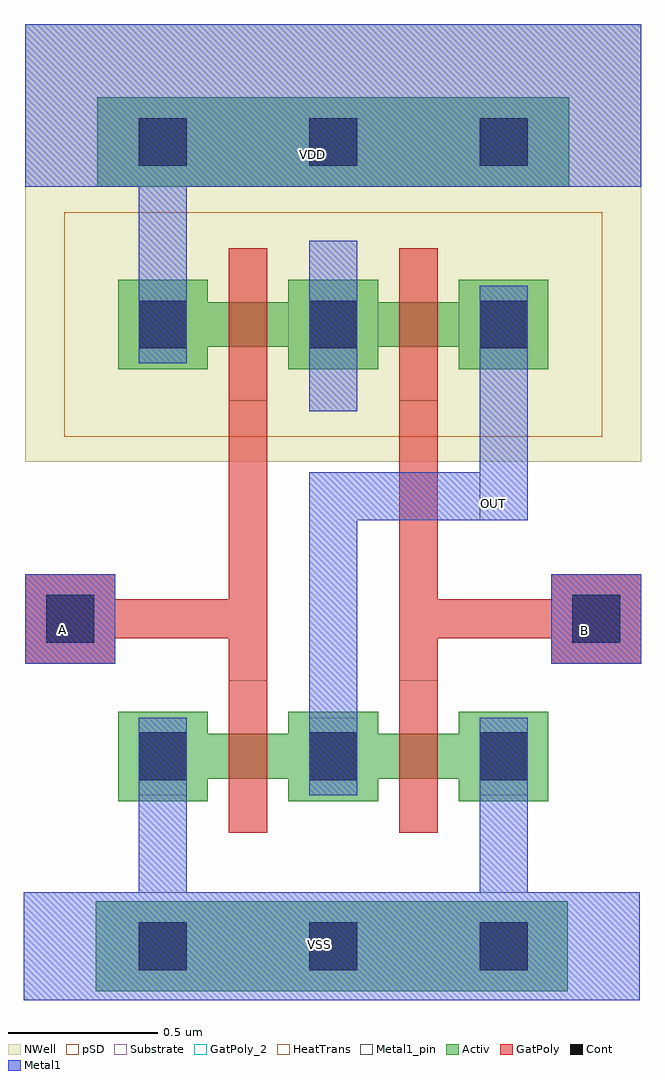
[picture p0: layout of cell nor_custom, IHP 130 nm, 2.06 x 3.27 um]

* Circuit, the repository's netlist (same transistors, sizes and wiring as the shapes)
** sch_path: /foss/designs/PhaseInterpolator/Custom_std_cells/nor_custom.sch
.subckt nor_custom VDD A OUT B VSS
*.PININFO VDD:B VSS:B A:I B:I OUT:O
M1 OUT A VSS VSS sg13_lv_nmos w=0.15u l=0.13u ng=1 m=1
M2 OUT B net1 VDD sg13_lv_pmos w=0.15u l=0.13u ng=1 m=1
M3 OUT B VSS VSS sg13_lv_nmos w=0.15u l=0.13u ng=1 m=1
M4 net1 A VDD VDD sg13_lv_pmos w=0.15u l=0.13u ng=1 m=1
.ends

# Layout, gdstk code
from math import pi, radians
import gdstk
lib = gdstk.Library(unit=1e-6, precision=5e-09)
def R(c, l, rs):  # rectangles x0, y0, x1, y1
    for r in rs: c.add(gdstk.rectangle(r[:2], r[2:], *l))
def A(c, l, x, y, w, h, nx, ny, dx, dy):  # array of equal rectangles
    R(c, l, [(x+i*dx, y+j*dy, x+i*dx+w, y+j*dy+h) for i in range(nx) for j in range(ny)])
Activ = (1, 0)
GatPoly = (5, 0)
GatPoly_2 = (5, 2)
Cont = (6, 0)
Metal1 = (8, 0)
Metal1_pin = (8, 2)
pSD = (14, 0)
NWell = (31, 0)
Substrate = (40, 0)
HeatTrans = (51, 0)

pmos = lib.new_cell('pmos')
R(pmos, Activ, [(0,0,0.3,0.3), (0.57,0,0.87,0.3), (0,0.075,0.87,0.225)])
R(pmos, GatPoly, [(0.37,-0.105,0.5,0.405), (0.37,-0.105,0.5,0.405)])
R(pmos, Cont, [(0.07,0.07,0.23,0.23), (0.64,0.07,0.8,0.23)])
R(pmos, Metal1, [(0.07,0.02,0.23,0.28), (0.07,0.02,0.23,0.28), (0.64,0.02,0.8,0.28), (0.64,0.02,0.8,0.28)])
R(pmos, pSD, [(-0.18,-0.225,1.05,0.525)])
R(pmos, NWell, [(-0.31,-0.31,1.18,0.61)])
R(pmos, Substrate, [(0.57,0,0.87,0.3)])
R(pmos, HeatTrans, [(0.37,-0.105,0.5,0.405)])
pmos.add(gdstk.Label('pmos', (0.435,0.15), layer=63, texttype=0))
pmos.add(gdstk.Label('pmos', (0.435,0.15), layer=51, texttype=0))

nmos = lib.new_cell('nmos')
R(nmos, Activ, [(0,0,0.3,0.3), (0.57,0,0.87,0.3), (0,0.075,0.87,0.225)])
R(nmos, GatPoly, [(0.37,-0.105,0.5,0.405)])
R(nmos, GatPoly_2, [(0.37,-0.105,0.5,0.405)])
R(nmos, Cont, [(0.07,0.07,0.23,0.23), (0.64,0.07,0.8,0.23)])
R(nmos, Metal1, [(0.07,0.02,0.23,0.28), (0.64,0.02,0.8,0.28)])
R(nmos, Metal1_pin, [(0.07,0.02,0.23,0.28), (0.64,0.02,0.8,0.28)])
R(nmos, HeatTrans, [(0.37,-0.105,0.5,0.405)])
nmos.add(gdstk.Label('nmos', (0.435,0.15), layer=63, texttype=0))
nmos.add(gdstk.Label('nmos', (0.435,0.15), layer=51, texttype=0))

nor_custom = lib.new_cell('nor_custom')
R(nor_custom, Activ, [(0.405,-0.255,1.985,0.045), (0.41,2.435,1.99,2.735)])
R(nor_custom, GatPoly, [(0.85,0.275,0.98,2.23), (1.42,0.275,1.55,2.23), (0.17,0.84,0.47,1.14), (1.93,0.84,2.23,1.14), (0.47,0.925,0.85,1.055), (1.55,0.925,1.93,1.055)])
A(nor_custom, Cont, 0.55, -0.185, 0.16, 0.16, 3, 2, 0.57, 2.69)
R(nor_custom, Cont, [(0.24,0.91,0.4,1.07), (2,0.91,2.16,1.07)])
R(nor_custom, Metal1, [(0.165,-0.285,2.225,0.075), (0.55,-0.255,0.71,0.66), (1.69,-0.255,1.85,0.66), (1.12,0.4,1.28,1.48), (0.17,0.84,0.47,1.14), (1.93,0.84,2.23,1.14), (1.12,1.32,1.85,1.48), (1.69,1.32,1.85,2.105), (1.12,1.685,1.28,2.255), (0.55,1.845,0.71,2.735), (0.17,2.435,2.23,2.98)])
R(nor_custom, Metal1_pin, [(0.165,-0.285,2.225,0.075), (0.17,0.84,0.47,1.14), (1.93,0.84,2.23,1.14), (1.69,1.32,1.85,2.105), (0.17,2.435,2.23,2.98)])
R(nor_custom, pSD, [(0.165,-0.285,2.225,0.075)])
R(nor_custom, NWell, [(0.17,2.435,2.23,2.98)])
nor_custom.add(gdstk.Reference(pmos, (0.48,1.825)))
nor_custom.add(gdstk.Reference(pmos, (1.05,1.825)))
nor_custom.add(gdstk.Reference(nmos, (1.92,0.68), rotation=pi))
nor_custom.add(gdstk.Reference(nmos, (0.48,0.38)))
nor_custom.add(gdstk.Label('VSS', (1.155,-0.1), layer=8, texttype=25))
nor_custom.add(gdstk.Label('B', (2.04,0.95), layer=8, texttype=25))
nor_custom.add(gdstk.Label('A', (0.295,0.955), layer=8, texttype=25))
nor_custom.add(gdstk.Label('OUT', (1.735,1.375), layer=8, texttype=25))
nor_custom.add(gdstk.Label('VDD', (1.13,2.545), layer=8, texttype=25))

lib.write_gds('nor_custom.gds')
